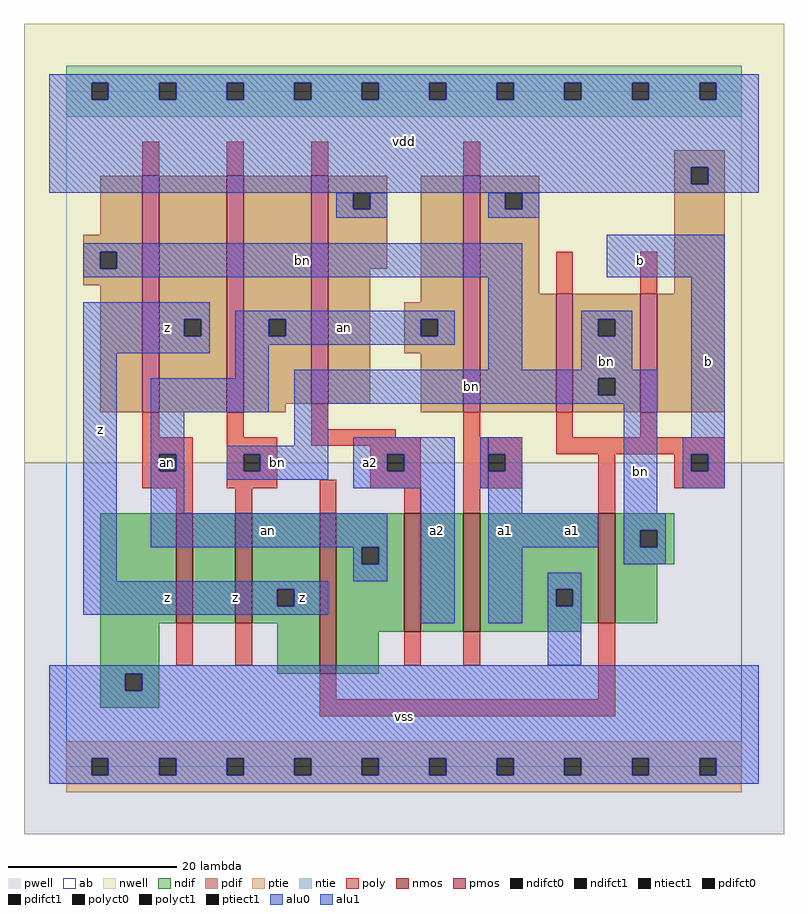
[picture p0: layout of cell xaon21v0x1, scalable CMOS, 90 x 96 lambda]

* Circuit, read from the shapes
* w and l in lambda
.subckt xaon21v0x1 a1 a2 an b bn vdd vss z
M1 n1 an vss vss nfet w=13 l=2
M2 z bn n1 vss nfet w=13 l=2
M3 an b z vss nfet w=19 l=2
M4 n2 a2 an vss nfet w=14 l=2
M5 vss a1 n2 vss nfet w=14 l=2
M6 bn b vss vss nfet w=13 l=2
M7 z an bn vdd pfet w=28 l=2
M8 an bn z vdd pfet w=28 l=2
M9 vdd a2 an vdd pfet w=27 l=2
M10 vdd a1 an vdd pfet w=28 l=2
M11 bn b vdd vdd pfet w=14 l=2 m=2
.ends

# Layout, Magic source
magic
tech scmos
<< ab >>
rect 0 0 80 80
<< nwell >>
rect -5 36 85 88
<< pwell >>
rect -5 -8 85 36
<< poly >>
rect 9 70 11 74
rect 19 70 21 74
rect 29 70 31 74
rect 47 70 49 74
rect 9 39 11 42
rect 19 39 21 42
rect 29 40 31 43
rect 58 56 60 61
rect 68 56 70 61
rect 29 39 39 40
rect 47 39 49 42
rect 58 39 60 42
rect 68 39 70 42
rect 9 37 15 39
rect 9 35 11 37
rect 13 35 15 37
rect 9 33 15 35
rect 19 37 25 39
rect 29 38 42 39
rect 19 35 21 37
rect 23 35 25 37
rect 19 33 25 35
rect 36 37 42 38
rect 36 35 38 37
rect 40 35 42 37
rect 13 30 15 33
rect 20 30 22 33
rect 30 30 32 34
rect 36 33 42 35
rect 40 30 42 33
rect 47 37 54 39
rect 58 37 78 39
rect 47 35 50 37
rect 52 35 54 37
rect 47 33 54 35
rect 47 30 49 33
rect 63 30 65 37
rect 72 35 74 37
rect 76 35 78 37
rect 72 33 78 35
rect 13 12 15 17
rect 20 12 22 17
rect 40 12 42 16
rect 47 12 49 16
rect 30 8 32 11
rect 63 8 65 17
rect 30 6 65 8
<< ndif >>
rect 4 17 13 30
rect 15 17 20 30
rect 22 21 30 30
rect 22 19 25 21
rect 27 19 30 21
rect 22 17 30 19
rect 4 11 11 17
rect 25 11 30 17
rect 32 26 40 30
rect 32 24 35 26
rect 37 24 40 26
rect 32 16 40 24
rect 42 16 47 30
rect 49 21 63 30
rect 49 19 58 21
rect 60 19 63 21
rect 49 17 63 19
rect 65 28 72 30
rect 65 26 68 28
rect 70 26 72 28
rect 65 24 72 26
rect 65 17 70 24
rect 49 16 61 17
rect 32 11 37 16
rect 4 9 7 11
rect 9 9 11 11
rect 4 7 11 9
<< pdif >>
rect 72 71 78 73
rect 4 63 9 70
rect 2 61 9 63
rect 2 59 4 61
rect 6 59 9 61
rect 2 57 9 59
rect 4 42 9 57
rect 11 53 19 70
rect 11 51 14 53
rect 16 51 19 53
rect 11 42 19 51
rect 21 53 29 70
rect 21 51 24 53
rect 26 51 29 53
rect 21 43 29 51
rect 31 68 38 70
rect 31 66 34 68
rect 36 66 38 68
rect 31 59 38 66
rect 31 43 36 59
rect 42 55 47 70
rect 40 53 47 55
rect 40 51 42 53
rect 44 51 47 53
rect 40 49 47 51
rect 21 42 26 43
rect 42 42 47 49
rect 49 68 56 70
rect 49 66 52 68
rect 54 66 56 68
rect 49 56 56 66
rect 72 69 74 71
rect 76 69 78 71
rect 72 56 78 69
rect 49 42 58 56
rect 60 53 68 56
rect 60 51 63 53
rect 65 51 68 53
rect 60 46 68 51
rect 60 44 63 46
rect 65 44 68 46
rect 60 42 68 44
rect 70 42 78 56
<< alu1 >>
rect -2 81 82 82
rect -2 79 3 81
rect 5 79 11 81
rect 13 79 19 81
rect 21 79 27 81
rect 29 79 35 81
rect 37 79 43 81
rect 45 79 51 81
rect 53 79 59 81
rect 61 79 67 81
rect 69 79 75 81
rect 77 79 82 81
rect -2 71 82 79
rect -2 69 74 71
rect 76 69 82 71
rect -2 68 82 69
rect 64 58 78 63
rect 2 53 17 55
rect 2 51 14 53
rect 16 51 17 53
rect 2 49 17 51
rect 2 22 6 49
rect 34 37 46 39
rect 34 35 38 37
rect 40 35 46 37
rect 34 33 46 35
rect 50 37 54 39
rect 52 35 54 37
rect 2 21 31 22
rect 2 19 25 21
rect 27 19 31 21
rect 2 18 31 19
rect 42 17 46 33
rect 50 30 54 35
rect 74 39 78 58
rect 73 37 78 39
rect 73 35 74 37
rect 76 35 78 37
rect 73 33 78 35
rect 50 26 63 30
rect 50 17 54 26
rect -2 11 82 12
rect -2 9 7 11
rect 9 9 82 11
rect -2 1 82 9
rect -2 -1 3 1
rect 5 -1 11 1
rect 13 -1 19 1
rect 21 -1 27 1
rect 29 -1 35 1
rect 37 -1 43 1
rect 45 -1 51 1
rect 53 -1 59 1
rect 61 -1 67 1
rect 69 -1 75 1
rect 77 -1 82 1
rect -2 -2 82 -1
<< ptie >>
rect 0 1 80 3
rect 0 -1 3 1
rect 5 -1 11 1
rect 13 -1 19 1
rect 21 -1 27 1
rect 29 -1 35 1
rect 37 -1 43 1
rect 45 -1 51 1
rect 53 -1 59 1
rect 61 -1 67 1
rect 69 -1 75 1
rect 77 -1 80 1
rect 0 -3 80 -1
<< ntie >>
rect 0 81 80 83
rect 0 79 3 81
rect 5 79 11 81
rect 13 79 19 81
rect 21 79 27 81
rect 29 79 35 81
rect 37 79 43 81
rect 45 79 51 81
rect 53 79 59 81
rect 61 79 67 81
rect 69 79 75 81
rect 77 79 80 81
rect 0 77 80 79
<< nmos >>
rect 13 17 15 30
rect 20 17 22 30
rect 30 11 32 30
rect 40 16 42 30
rect 47 16 49 30
rect 63 17 65 30
<< pmos >>
rect 9 42 11 70
rect 19 42 21 70
rect 29 43 31 70
rect 47 42 49 70
rect 58 42 60 56
rect 68 42 70 56
<< polyct0 >>
rect 11 35 13 37
rect 21 35 23 37
<< polyct1 >>
rect 38 35 40 37
rect 50 35 52 37
rect 74 35 76 37
<< ndifct0 >>
rect 35 24 37 26
rect 58 19 60 21
rect 68 26 70 28
<< ndifct1 >>
rect 25 19 27 21
rect 7 9 9 11
<< ntiect1 >>
rect 3 79 5 81
rect 11 79 13 81
rect 19 79 21 81
rect 27 79 29 81
rect 35 79 37 81
rect 43 79 45 81
rect 51 79 53 81
rect 59 79 61 81
rect 67 79 69 81
rect 75 79 77 81
<< ptiect1 >>
rect 3 -1 5 1
rect 11 -1 13 1
rect 19 -1 21 1
rect 27 -1 29 1
rect 35 -1 37 1
rect 43 -1 45 1
rect 51 -1 53 1
rect 59 -1 61 1
rect 67 -1 69 1
rect 75 -1 77 1
<< pdifct0 >>
rect 4 59 6 61
rect 24 51 26 53
rect 34 66 36 68
rect 42 51 44 53
rect 52 66 54 68
rect 63 51 65 53
rect 63 44 65 46
<< pdifct1 >>
rect 14 51 16 53
rect 74 69 76 71
<< alu0 >>
rect 32 66 34 68
rect 36 66 38 68
rect 32 65 38 66
rect 50 66 52 68
rect 54 66 56 68
rect 50 65 56 66
rect 2 61 54 62
rect 2 59 4 61
rect 6 59 54 61
rect 2 58 54 59
rect 20 53 46 54
rect 20 51 24 53
rect 26 51 42 53
rect 44 51 46 53
rect 20 50 46 51
rect 20 46 24 50
rect 50 47 54 58
rect 61 53 67 54
rect 61 51 63 53
rect 65 51 67 53
rect 61 47 67 51
rect 10 42 24 46
rect 27 46 70 47
rect 27 44 63 46
rect 65 44 70 46
rect 27 43 70 44
rect 10 37 14 42
rect 27 38 31 43
rect 10 35 11 37
rect 13 35 14 37
rect 10 30 14 35
rect 19 37 31 38
rect 19 35 21 37
rect 23 35 31 37
rect 19 34 31 35
rect 49 33 50 39
rect 10 26 38 30
rect 34 24 35 26
rect 37 24 38 26
rect 34 22 38 24
rect 66 30 70 43
rect 66 28 71 30
rect 66 26 68 28
rect 70 26 71 28
rect 66 24 71 26
rect 57 21 61 23
rect 57 19 58 21
rect 60 19 61 21
rect 57 12 61 19
<< labels >>
rlabel polyct0 12 36 12 36 6 an
rlabel alu0 24 28 24 28 6 an
rlabel alu0 25 36 25 36 6 bn
rlabel alu0 33 52 33 52 6 an
rlabel alu0 28 60 28 60 6 bn
rlabel alu0 68 35 68 35 6 bn
rlabel alu0 64 48 64 48 6 bn
rlabel alu0 48 45 48 45 6 bn
rlabel alu1 12 20 12 20 6 z
rlabel alu1 4 40 4 40 6 z
rlabel alu1 12 52 12 52 6 z
rlabel alu1 28 20 28 20 6 z
rlabel alu1 20 20 20 20 6 z
rlabel alu1 36 36 36 36 6 a2
rlabel alu1 40 6 40 6 6 vss
rlabel alu1 44 28 44 28 6 a2
rlabel alu1 52 28 52 28 6 a1
rlabel alu1 40 74 40 74 6 vdd
rlabel alu1 60 28 60 28 6 a1
rlabel alu1 76 48 76 48 6 b
rlabel alu1 68 60 68 60 6 b
<< end >>
